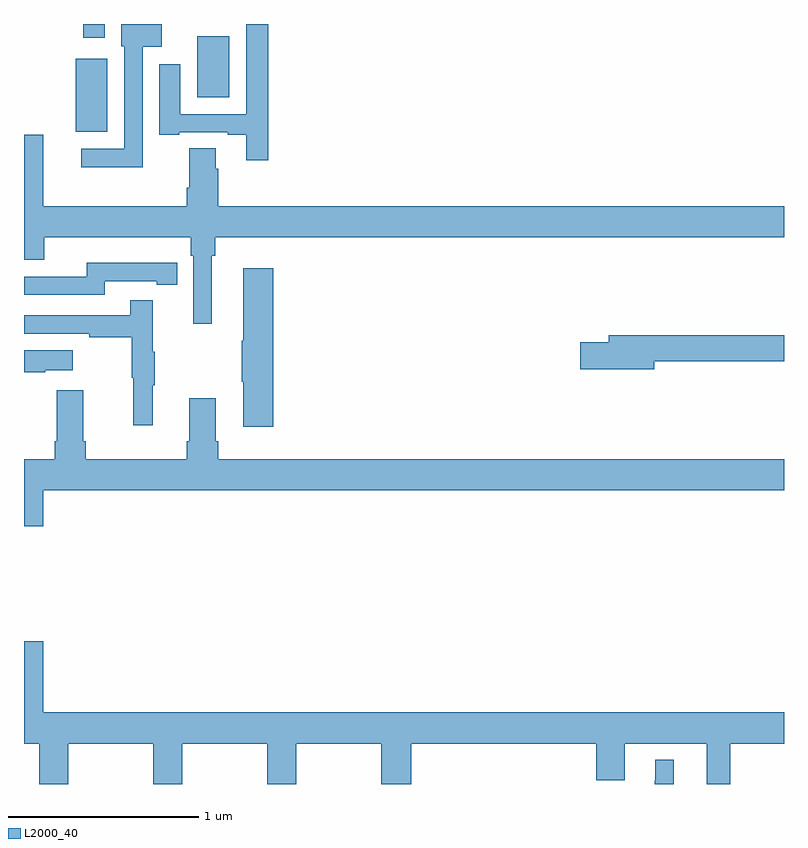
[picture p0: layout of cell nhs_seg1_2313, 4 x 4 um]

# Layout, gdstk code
import gdstk
lib = gdstk.Library(unit=1e-6, precision=1e-09)
def R(c, l, rs):  # rectangles x0, y0, x1, y1
    for r in rs: c.add(gdstk.rectangle(r[:2], r[2:], *l))
def P(c, l, *ps):  # polygons
    for p in ps: c.add(gdstk.Polygon(p, *l))
L2000_40 = (2000, 40)

nhs_seg1_2313 = lib.new_cell('nhs_seg1_2313')
R(nhs_seg1_2313, L2000_40, [(237.272,541.631,237.439,542.017), (237.911,541.814,238.081,542.134), (237.311,542.127,237.424,542.199)])
P(nhs_seg1_2313, L2000_40, [(237.624,542.078),(237.724,542.078),(237.724,542.199),(237.512,542.199),(237.512,542.082),(237.528,542.082),(237.528,541.542),(237.3,541.542),(237.3,541.445),(237.624,541.445)],
  [(238.286,542.199),(238.17,542.199),(238.17,541.725),(237.823,541.725),(237.823,541.987),(237.713,541.987),(237.713,541.617),(237.817,541.617),(237.817,541.629),(238.073,541.629),(238.073,541.617),(238.169,541.617),(238.169,541.482),(238.286,541.482)],
  [(237.988,540.98),(238.007,540.98),(238.007,541.076),(241,541.076),(241,541.24),(238.022,541.24),(238.022,541.436),(238.009,541.436),(238.009,541.544),(237.869,541.544),(237.869,541.336),(237.857,541.336),(237.857,541.24),(237.1,541.24),(237.1,541.615),(237,541.615),(237,540.959),(237.106,540.959),(237.106,541.076),(237.878,541.076),(237.878,540.98),(237.891,540.98),(237.891,540.621),(237.988,540.621)],
  [(237.426,540.846),(237.698,540.846),(237.698,540.826),(237.806,540.826),(237.806,540.942),(237.698,540.942),(237.698,540.943),(237.33,540.943),(237.33,540.87),(237,540.87),(237,540.774),(237.426,540.774)],
  [(238.313,540.913),(238.154,540.913),(238.154,540.533),(238.147,540.533),(238.147,540.316),(238.154,540.316),(238.154,540.078),(238.313,540.078)],
  [(237.677,540.299),(237.688,540.299),(237.688,540.473),(237.677,540.473),(237.677,540.745),(237.559,540.745),(237.559,540.666),(237,540.666),(237,540.57),(237.343,540.57),(237.343,540.55),(237.567,540.55),(237.567,540.336),(237.574,540.336),(237.574,540.087),(237.677,540.087)],
  [(240.316,540.424),(241,540.424),(241,540.56),(240.077,540.56),(240.077,540.524),(239.928,540.524),(239.928,540.382),(240.316,540.382)],
  [(237.113,540.377),(237.256,540.377),(237.256,540.481),(237,540.481),(237,540.367),(237.113,540.367)],
  [(237.1,539.744),(241,539.744),(241,539.908),(238.022,539.908),(238.022,540.004),(238.009,540.004),(238.009,540.229),(237.869,540.229),(237.869,540.004),(237.857,540.004),(237.857,539.908),(237.326,539.908),(237.326,540.004),(237.313,540.004),(237.313,540.271),(237.173,540.271),(237.173,540.004),(237.161,540.004),(237.161,539.908),(237,539.908),(237,539.556),(237.1,539.556)],
  [(237.234,538.412),(237.679,538.412),(237.679,538.199),(237.834,538.199),(237.834,538.412),(238.279,538.412),(238.279,538.199),(238.434,538.199),(238.434,538.412),(238.879,538.412),(238.879,538.199),(239.039,538.199),(239.039,538.412),(240.011,538.412),(240.011,538.22),(240.163,538.22),(240.163,538.412),(240.593,538.412),(240.593,538.199),(240.716,538.199),(240.716,538.412),(241,538.412),(241,538.576),(237.1,538.576),(237.1,538.951),(237,538.951),(237,538.412),(237.079,538.412),(237.079,538.199),(237.234,538.199)],
  [(240.421,538.327),(240.323,538.327),(240.323,538.217),(240.319,538.217),(240.319,538.199),(240.421,538.199)])

lib.write_gds('nhs_seg1_2313.gds')
